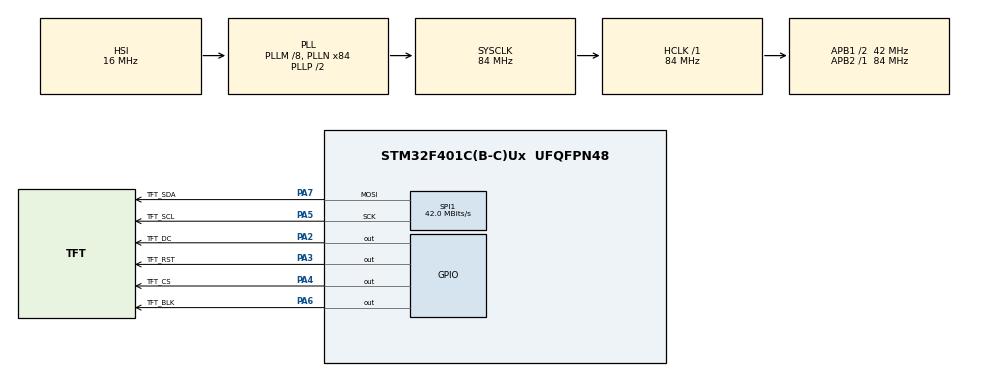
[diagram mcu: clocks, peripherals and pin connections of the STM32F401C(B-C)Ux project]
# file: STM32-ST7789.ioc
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Dma.Request0=SPI1_TX
Dma.SPI1_TX.0.Direction=DMA_MEMORY_TO_PERIPH
Dma.SPI1_TX.0.FIFOMode=DMA_FIFOMODE_DISABLE
Dma.SPI1_TX.0.Instance=DMA2_Stream3
Dma.SPI1_TX.0.MemDataAlignment=DMA_MDATAALIGN_BYTE
Dma.SPI1_TX.0.MemInc=DMA_MINC_ENABLE
Dma.SPI1_TX.0.Mode=DMA_NORMAL
Dma.SPI1_TX.0.PeriphDataAlignment=DMA_PDATAALIGN_BYTE
Dma.SPI1_TX.0.PeriphInc=DMA_PINC_DISABLE
Dma.SPI1_TX.0.Priority=DMA_PRIORITY_LOW
Mcu.Family=STM32F4
Mcu.Name=STM32F401C(B-C)Ux
Mcu.Package=UFQFPN48
NVIC.DMA2_Stream3_IRQn=true\:0\:0\:false\:false\:true\:false\:true\:true
NVIC.PriorityGroup=NVIC_PRIORITYGROUP_4
PA2.GPIO_Label=TFT_DC
PA2.Signal=GPIO_Output
PA3.GPIO_Label=TFT_RST
PA3.Signal=GPIO_Output
PA4.GPIO_Label=TFT_CS
PA4.Signal=GPIO_Output
PA5.GPIO_Label=TFT_SCL
PA5.Mode=TX_Only_Simplex_Unidirect_Master
PA5.Signal=SPI1_SCK
PA6.GPIO_Label=TFT_BLK
PA6.Signal=GPIO_Output
PA7.GPIO_Label=TFT_SDA
PA7.Mode=TX_Only_Simplex_Unidirect_Master
PA7.Signal=SPI1_MOSI
ProjectManager.HeapSize=0x200
ProjectManager.StackSize=0x400
ProjectManager.TargetToolchain=CMake
RCC.48MHZClocksFreq_Value=42000000
RCC.AHBFreq_Value=84000000
RCC.APB1CLKDivider=RCC_HCLK_DIV2
RCC.APB1Freq_Value=42000000
RCC.APB1TimFreq_Value=84000000
RCC.APB2Freq_Value=84000000
RCC.APB2TimFreq_Value=84000000
RCC.CortexFreq_Value=84000000
RCC.HCLKFreq_Value=84000000
RCC.HSE_VALUE=25000000
RCC.HSI_VALUE=16000000
RCC.LSE_VALUE=32768
RCC.PLLM=8
RCC.PLLN=84
RCC.SYSCLKFreq_VALUE=84000000
RCC.SYSCLKSource=RCC_SYSCLKSOURCE_PLLCLK
RCC.VCOOutputFreq_Value=168000000
SPI1.BaudRatePrescaler=SPI_BAUDRATEPRESCALER_2
SPI1.CLKPolarity=SPI_POLARITY_LOW
SPI1.CalculateBaudRate=42.0 MBits/s
SPI1.Direction=SPI_DIRECTION_2LINES
SPI1.Mode=SPI_MODE_MASTER
SPI1.VirtualType=VM_MASTER
board=custom

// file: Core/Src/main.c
/* USER CODE BEGIN Header */
/**
  ******************************************************************************
  * @file           : main.c
  * @brief          : Main program body
  ******************************************************************************
  * @attention
  *
  * Copyright (c) 2026 STMicroelectronics.
  * All rights reserved.
  *
  * This software is licensed under terms that can be found in the LICENSE file
  * in the root directory of this software component.
  * If no LICENSE file comes with this software, it is provided AS-IS.
  *
  ******************************************************************************
  */
/* USER CODE END Header */
#include "main.h"

/* USER CODE BEGIN Includes */
#include "dwt_timer.h"
#include "st7789_driver.h"
#include "gfx.h"
#include "gfx_text.h"
#include "stm32f4xx_hal.h"
/* USER CODE END Includes */

SPI_HandleTypeDef hspi1;
DMA_HandleTypeDef hdma_spi1_tx;

void SystemClock_Config(void);
static void MX_GPIO_Init(void);
static void MX_DMA_Init(void);
static void MX_SPI1_Init(void);

int main(void)
{

  /* USER CODE BEGIN 1 */
  dwt_reset_timer();
  /* USER CODE END 1 */

  /* MCU Configuration--------------------------------------------------------*/

  /* Reset of all peripherals, Initializes the Flash interface and the Systick. */
  HAL_Init();

  /* Configure the system clock */
  SystemClock_Config();

  /* Initialize all configured peripherals */
  MX_GPIO_Init();
  MX_DMA_Init();
  MX_SPI1_Init();
  /* USER CODE BEGIN 2 */

  st7789_spi_connected_data_t spi_data = {
      .spi = &hspi1,
      .dc = {TFT_DC_GPIO_Port, TFT_DC_Pin},
      .cs = {TFT_CS_GPIO_Port, TFT_CS_Pin},
      .rst = {TFT_RST_GPIO_Port, TFT_RST_Pin},
      .blk = {TFT_BLK_GPIO_Port, TFT_BLK_Pin},
  };
  st7789_window_data_t window_data = {
      .width = 240,
      .height = 320,
      .orientation = GFX_ORIENTATION_PORTRAIT,
  };
  st7789_init(&spi_data, &window_data);
  gfx_init();
  HAL_Delay(1000);

  /* USER CODE END 2 */

  /* Infinite loop */
  /* USER CODE BEGIN WHILE */
  while (1)
  {
    gfx_tests();
    gfx_text_tests();
    /* USER CODE END WHILE */

  }
}

void SystemClock_Config(void)
{
  RCC_OscInitTypeDef RCC_OscInitStruct = {0};
  RCC_ClkInitTypeDef RCC_ClkInitStruct = {0};

  /** Configure the main internal regulator output voltage
  */
  __HAL_RCC_PWR_CLK_ENABLE();
  __HAL_PWR_VOLTAGESCALING_CONFIG(PWR_REGULATOR_VOLTAGE_SCALE2);

  /** Initializes the RCC Oscillators according to the specified parameters
  * in the RCC_OscInitTypeDef structure.
  */
  RCC_OscInitStruct.OscillatorType = RCC_OSCILLATORTYPE_HSI;
  RCC_OscInitStruct.HSIState = RCC_HSI_ON;
  RCC_OscInitStruct.HSICalibrationValue = RCC_HSICALIBRATION_DEFAULT;
  RCC_OscInitStruct.PLL.PLLState = RCC_PLL_ON;
  RCC_OscInitStruct.PLL.PLLSource = RCC_PLLSOURCE_HSI;
  RCC_OscInitStruct.PLL.PLLM = 8;
  RCC_OscInitStruct.PLL.PLLN = 84;
  RCC_OscInitStruct.PLL.PLLP = RCC_PLLP_DIV2;
  RCC_OscInitStruct.PLL.PLLQ = 4;
  if (HAL_RCC_OscConfig(&RCC_OscInitStruct) != HAL_OK)
  {
    Error_Handler();
  }

  /** Initializes the CPU, AHB and APB buses clocks
  */
  RCC_ClkInitStruct.ClockType = RCC_CLOCKTYPE_HCLK|RCC_CLOCKTYPE_SYSCLK
                              |RCC_CLOCKTYPE_PCLK1|RCC_CLOCKTYPE_PCLK2;
  RCC_ClkInitStruct.SYSCLKSource = RCC_SYSCLKSOURCE_PLLCLK;
  RCC_ClkInitStruct.AHBCLKDivider = RCC_SYSCLK_DIV1;
  RCC_ClkInitStruct.APB1CLKDivider = RCC_HCLK_DIV2;
  RCC_ClkInitStruct.APB2CLKDivider = RCC_HCLK_DIV1;

  if (HAL_RCC_ClockConfig(&RCC_ClkInitStruct, FLASH_LATENCY_2) != HAL_OK)
  {
    Error_Handler();
  }
}

static void MX_SPI1_Init(void)
{

  /* SPI1 parameter configuration*/
  hspi1.Instance = SPI1;
  hspi1.Init.Mode = SPI_MODE_MASTER;
  hspi1.Init.Direction = SPI_DIRECTION_2LINES;
  hspi1.Init.DataSize = SPI_DATASIZE_8BIT;
  hspi1.Init.CLKPolarity = SPI_POLARITY_LOW;
  hspi1.Init.CLKPhase = SPI_PHASE_1EDGE;
  hspi1.Init.NSS = SPI_NSS_SOFT;
  hspi1.Init.BaudRatePrescaler = SPI_BAUDRATEPRESCALER_2;
  hspi1.Init.FirstBit = SPI_FIRSTBIT_MSB;
  hspi1.Init.TIMode = SPI_TIMODE_DISABLE;
  hspi1.Init.CRCCalculation = SPI_CRCCALCULATION_DISABLE;
  hspi1.Init.CRCPolynomial = 10;
  if (HAL_SPI_Init(&hspi1) != HAL_OK)
  {
    Error_Handler();
  }

}

static void MX_DMA_Init(void)
{

  /* DMA controller clock enable */
  __HAL_RCC_DMA2_CLK_ENABLE();

  /* DMA interrupt init */
  /* DMA2_Stream3_IRQn interrupt configuration */
  HAL_NVIC_SetPriority(DMA2_Stream3_IRQn, 0, 0);
  HAL_NVIC_EnableIRQ(DMA2_Stream3_IRQn);

}

static void MX_GPIO_Init(void)
{
  GPIO_InitTypeDef GPIO_InitStruct = {0};

  /* GPIO Ports Clock Enable */
  __HAL_RCC_GPIOA_CLK_ENABLE();

  /*Configure GPIO pin Output Level */
  HAL_GPIO_WritePin(GPIOA, TFT_DC_Pin|TFT_RST_Pin|TFT_CS_Pin|TFT_BLK_Pin, GPIO_PIN_RESET);

  /*Configure GPIO pins : TFT_DC_Pin TFT_RST_Pin TFT_CS_Pin TFT_BLK_Pin */
  GPIO_InitStruct.Pin = TFT_DC_Pin|TFT_RST_Pin|TFT_CS_Pin|TFT_BLK_Pin;
  GPIO_InitStruct.Mode = GPIO_MODE_OUTPUT_PP;
  GPIO_InitStruct.Pull = GPIO_NOPULL;
  GPIO_InitStruct.Speed = GPIO_SPEED_FREQ_LOW;
  HAL_GPIO_Init(GPIOA, &GPIO_InitStruct);

}

void Error_Handler(void)
{
  __disable_irq();
  while (1)
  {
  }
}
